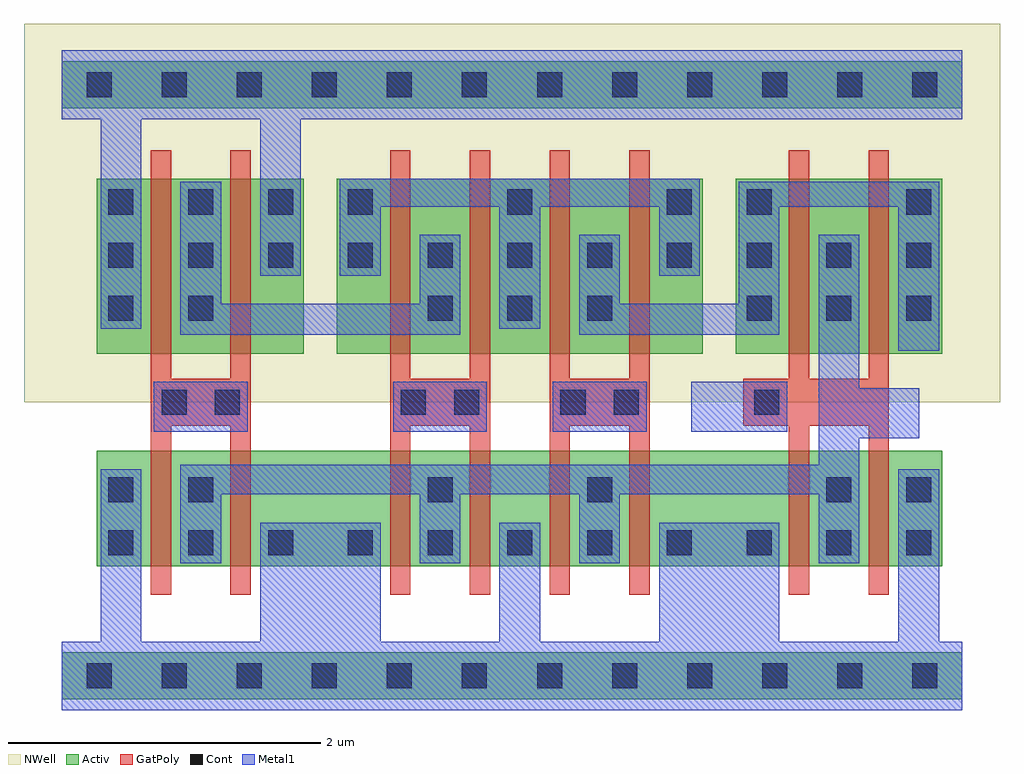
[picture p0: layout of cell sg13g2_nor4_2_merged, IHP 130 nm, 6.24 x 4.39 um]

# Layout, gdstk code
import gdstk
lib = gdstk.Library(unit=1e-6, precision=1e-09)
def R(c, l, rs):  # rectangles x0, y0, x1, y1
    for r in rs: c.add(gdstk.rectangle(r[:2], r[2:], *l))
def A(c, l, x, y, w, h, nx, ny, dx, dy):  # array of equal rectangles
    R(c, l, [(x+i*dx, y+j*dy, x+i*dx+w, y+j*dy+h) for i in range(nx) for j in range(ny)])
def P(c, l, *ps):  # polygons
    for p in ps: c.add(gdstk.Polygon(p, *l))
Activ = (1, 0)
GatPoly = (5, 0)
Cont = (6, 0)
Metal1 = (8, 0)
NWell = (31, 0)

sg13g2_nor4_2_merged = lib.new_cell('sg13g2_nor4_2_merged')
R(sg13g2_nor4_2_merged, Activ, [(0,-0.15,5.76,0.15), (0.225,0.7,5.63,1.44), (0.225,2.06,1.55,3.18), (1.76,2.06,4.1,3.18), (4.31,2.06,5.63,3.18), (0,3.63,5.76,3.93)])
P(sg13g2_nor4_2_merged, GatPoly, [(0.57,0.52),(0.57,3.36),(0.7,3.36),(0.7,1.9),(1.08,1.9),(1.08,3.36),(1.21,3.36),(1.21,0.52),(1.08,0.52),(1.08,1.6),(0.7,1.6),(0.7,0.52)],
  [(2.1,0.52),(2.1,3.36),(2.23,3.36),(2.23,1.9),(2.61,1.9),(2.61,3.36),(2.74,3.36),(2.74,0.52),(2.61,0.52),(2.61,1.6),(2.23,1.6),(2.23,0.52)],
  [(3.12,0.52),(3.12,3.36),(3.25,3.36),(3.25,1.9),(3.63,1.9),(3.63,3.36),(3.76,3.36),(3.76,0.52),(3.63,0.52),(3.63,1.6),(3.25,1.6),(3.25,0.52)],
  [(4.65,0.52),(4.65,1.6),(4.36,1.6),(4.36,1.9),(4.65,1.9),(4.65,3.36),(4.78,3.36),(4.78,1.9),(5.16,1.9),(5.16,3.36),(5.29,3.36),(5.29,0.52),(5.16,0.52),(5.16,1.6),(4.78,1.6),(4.78,0.52)])
A(sg13g2_nor4_2_merged, Cont, 0.16, -0.08, 0.16, 0.16, 12, 2, 0.48, 3.78)
A(sg13g2_nor4_2_merged, Cont, 0.3, 0.77, 0.16, 0.16, 11, 2, 0.51, 1.84)
A(sg13g2_nor4_2_merged, Cont, 2.34, 2.27, 0.16, 0.16, 3, 1, 0.51, 0)
A(sg13g2_nor4_2_merged, Cont, 4.38, 2.27, 0.16, 0.16, 3, 1, 0.51, 0)
A(sg13g2_nor4_2_merged, Cont, 0.3, 2.95, 0.16, 0.16, 4, 1, 0.51, 0)
R(sg13g2_nor4_2_merged, Cont, [(0.3,1.11,0.46,1.27), (0.81,1.11,0.97,1.27), (2.34,1.11,2.5,1.27), (3.36,1.11,3.52,1.27), (4.89,1.11,5.05,1.27), (5.4,1.11,5.56,1.27), (0.64,1.67,0.8,1.83), (0.98,1.67,1.14,1.83), (2.17,1.67,2.33,1.83), (2.51,1.67,2.67,1.83), (3.19,1.67,3.35,1.83), (3.53,1.67,3.69,1.83), (4.43,1.67,4.59,1.83), (0.3,2.27,0.46,2.43), (0.81,2.27,0.97,2.43), (2.85,2.95,3.01,3.11), (3.87,2.95,4.03,3.11), (4.38,2.95,4.54,3.11), (5.4,2.95,5.56,3.11)])
R(sg13g2_nor4_2_merged, Metal1, [(0.59,1.56,1.19,1.88), (2.12,1.56,2.72,1.88), (3.14,1.56,3.74,1.88), (4.025,1.56,4.64,1.88)])
P(sg13g2_nor4_2_merged, Metal1, [(0,-0.22),(0,0.22),(0.25,0.22),(0.25,1.32),(0.51,1.32),(0.51,0.22),(1.27,0.22),(1.27,0.98),(2.04,0.98),(2.04,0.22),(2.8,0.22),(2.8,0.98),(3.06,0.98),(3.06,0.22),(3.82,0.22),(3.82,0.98),(4.59,0.98),(4.59,0.22),(5.35,0.22),(5.35,1.32),(5.61,1.32),(5.61,0.22),(5.76,0.22),(5.76,-0.22)],
  [(0.76,0.72),(0.76,1.35),(4.84,1.35),(4.84,2.82),(5.1,2.82),(5.1,1.84),(5.485,1.84),(5.485,1.52),(5.1,1.52),(5.1,0.72),(4.84,0.72),(4.84,1.16),(3.57,1.16),(3.57,0.72),(3.31,0.72),(3.31,1.16),(2.55,1.16),(2.55,0.72),(2.29,0.72),(2.29,1.16),(1.02,1.16),(1.02,0.72)],
  [(0.76,2.18),(0.76,3.16),(1.02,3.16),(1.02,2.38),(2.29,2.38),(2.29,2.82),(2.55,2.82),(2.55,2.18)],
  [(5.35,2.08),(5.35,3),(4.59,3),(4.59,2.18),(3.31,2.18),(3.31,2.82),(3.57,2.82),(3.57,2.38),(4.33,2.38),(4.33,3.16),(5.61,3.16),(5.61,2.08)],
  [(2.8,2.22),(2.8,3),(2.04,3),(2.04,2.56),(1.78,2.56),(1.78,3.18),(4.08,3.18),(4.08,2.56),(3.82,2.56),(3.82,3),(3.06,3),(3.06,2.22)],
  [(0.25,2.22),(0.25,3.56),(0,3.56),(0,4),(5.76,4),(5.76,3.56),(1.53,3.56),(1.53,2.56),(1.27,2.56),(1.27,3.56),(0.51,3.56),(0.51,2.22)])
R(sg13g2_nor4_2_merged, NWell, [(-0.24,1.75,6,4.17)])

lib.write_gds('sg13g2_nor4_2_merged.gds')
